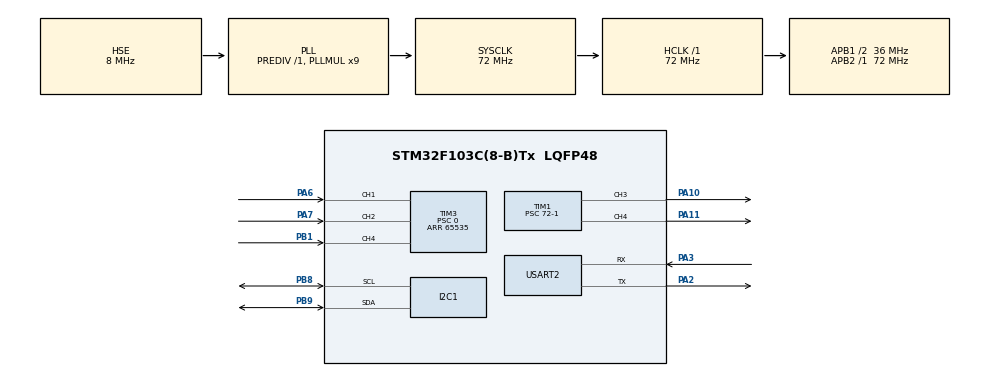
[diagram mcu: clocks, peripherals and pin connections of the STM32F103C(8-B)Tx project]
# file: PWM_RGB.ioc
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I2C1.I2C_Mode=I2C_Fast
Mcu.Family=STM32F1
Mcu.Name=STM32F103C(8-B)Tx
Mcu.Package=LQFP48
NVIC.PriorityGroup=NVIC_PRIORITYGROUP_4
NVIC.TIM2_IRQn=true\:0\:0\:false\:false\:true\:true\:true\:true
NVIC.TIM3_IRQn=true\:0\:0\:false\:false\:true\:true\:true\:true
NVIC.TIM4_IRQn=true\:0\:0\:false\:false\:true\:true\:true\:true
NVIC.USART2_IRQn=true\:0\:0\:false\:false\:true\:true\:true\:true
PA0-WKUP.Signal=S_TIM2_CH1_ETR
PA1.Signal=S_TIM2_CH2
PA10.Signal=S_TIM1_CH3
PA11.Signal=S_TIM1_CH4
PA13.Mode=Serial_Wire
PA13.Signal=SYS_JTMS-SWDIO
PA14.Mode=Serial_Wire
PA14.Signal=SYS_JTCK-SWCLK
PA2.Mode=Asynchronous
PA2.Signal=USART2_TX
PA3.Mode=Asynchronous
PA3.Signal=USART2_RX
PA6.Signal=S_TIM3_CH1
PA7.Signal=S_TIM3_CH2
PB1.Signal=S_TIM3_CH4
PB8.Mode=I2C
PB8.Signal=I2C1_SCL
PB9.Mode=I2C
PB9.Signal=I2C1_SDA
PD0-OSC_IN.Mode=HSE-External-Oscillator
PD0-OSC_IN.Signal=RCC_OSC_IN
PD1-OSC_OUT.Mode=HSE-External-Oscillator
PD1-OSC_OUT.Signal=RCC_OSC_OUT
ProjectManager.HeapSize=0x200
ProjectManager.StackSize=0x400
ProjectManager.TargetToolchain=STM32CubeIDE
RCC.AHBFreq_Value=72000000
RCC.APB1CLKDivider=RCC_HCLK_DIV2
RCC.APB1Freq_Value=36000000
RCC.APB1TimFreq_Value=72000000
RCC.APB2Freq_Value=72000000
RCC.APB2TimFreq_Value=72000000
RCC.HCLKFreq_Value=72000000
RCC.PLLMUL=RCC_PLL_MUL9
RCC.PLLSourceVirtual=RCC_PLLSOURCE_HSE
RCC.SYSCLKFreq_VALUE=72000000
RCC.SYSCLKSource=RCC_SYSCLKSOURCE_PLLCLK
RCC.USBFreq_Value=72000000
SH.S_TIM1_CH3.0=TIM1_CH3,PWM Generation3 CH3
SH.S_TIM1_CH4.0=TIM1_CH4,PWM Generation4 CH4
SH.S_TIM2_CH1_ETR.0=TIM2_CH1
SH.S_TIM2_CH2.0=TIM2_CH2
SH.S_TIM3_CH1.0=TIM3_CH1,Encoder_Interface
SH.S_TIM3_CH2.0=TIM3_CH2,Encoder_Interface
SH.S_TIM3_CH4.0=TIM3_CH4,Input_Capture4_from_TI4
TIM1.Channel-PWM\ Generation3\ CH3=TIM_CHANNEL_3
TIM1.Channel-PWM\ Generation4\ CH4=TIM_CHANNEL_4
TIM1.Period=100-1
TIM1.Prescaler=72-1
TIM2.Period=999
TIM2.Prescaler=7199
TIM3.Channel-Input_Capture4_from_TI4=TIM_CHANNEL_4
TIM3.Period=65535
TIM3.Prescaler=0
TIM4.Period=9999
TIM4.Prescaler=39
USART2.VirtualMode=VM_ASYNC
VP_TIM1_VS_ClockSourceINT.Mode=Internal
VP_TIM2_VS_ClockSourceINT.Mode=Internal
VP_TIM4_VS_ClockSourceINT.Mode=Internal
board=custom

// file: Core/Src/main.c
/* USER CODE BEGIN Header */
/**
 ******************************************************************************
 * @file           : main.c
 * @brief          : Main program body
 ******************************************************************************
 * @attention
 *
 * Copyright (c) 2022 STMicroelectronics.
 * All rights reserved.
 *
 * This software is licensed under terms that can be found in the LICENSE file
 * in the root directory of this software component.
 * If no LICENSE file comes with this software, it is provided AS-IS.
 *
 ******************************************************************************
 */
/* USER CODE END Header */
#include "main.h"
#include "i2c.h"
#include "tim.h"
#include "usart.h"
#include "gpio.h"

/* USER CODE BEGIN Includes */
#include "string.h"
#include "oled.h"
#include "stdio.h"
/* USER CODE END Includes */

/* USER CODE BEGIN PTD */
static uint8_t prev_mapped_value = 0;
/* USER CODE END PTD */

/* USER CODE BEGIN PM */
#define ENCODER_MAX_COUNT 65535  // 假设使用16位定时器

#define GRATING_RESOLUTION 0.001  // 光栅尺分辨率，单位：mm/脉冲，根据实际光栅尺规格调整
#define TIMER_OVERFLOW 65536      // 16位定时器溢出值
#define RX_BUFFER_SIZE 3  // 增加缓冲区大小以容纳更长的数字字符串
/* USER CODE END PM */

/* USER CODE BEGIN PV */
// 串口接收缓冲区
uint8_t rx_data[RX_BUFFER_SIZE];
volatile uint8_t rx_index = 0;
float test_pos = 0, amplitude = 200, time = 0;
volatile uint32_t g_sys_time = 0; // 系统时间
uint8_t controlPeriodFlag = 0;	  // 控制周期标志
volatile float goal_pos_loop = 0;
volatile float goal_vel_loop = 0;
volatile float goal_cur_loop; // 目标值
volatile uint32_t raw_count; //编码器计数值
volatile float motor_pos = 0.0f; // 光栅尺位置，单位：mm
volatile float motor_vel = 0.0f; // 光栅尺速度，单位：mm/s

int32_t last_count = 0;
int32_t total_count = 0;
uint8_t reference_detected = 0;
float reference_position = 0.0f;  // S相参考点位置
/* USER CODE END PV */

void SystemClock_Config(void);

int main(void) {

	/* MCU Configuration--------------------------------------------------------*/

	/* Reset of all peripherals, Initializes the Flash interface and the Systick. */
	HAL_Init();

	/* Configure the system clock */
	SystemClock_Config();

	/* Initialize all configured peripherals */
	MX_GPIO_Init();
	MX_TIM2_Init();
	MX_TIM1_Init();
	MX_USART2_UART_Init();
	MX_I2C1_Init();
	MX_TIM3_Init();
	MX_TIM4_Init();
	/* USER CODE BEGIN 2 */
	__HAL_TIM_SET_COUNTER(&htim3, 65536);
	HAL_TIM_Encoder_Start(&htim3, TIM_CHANNEL_ALL);
	HAL_TIM_Base_Start_IT(&htim2);
	HAL_TIM_Base_Start_IT(&htim4);

	HAL_Delay(20); // 单片机启动比OLED上电快,需要延迟等待一下
	OLED_Init();   // 初始化OLED
	// 开启串口中断接收
	HAL_UART_Receive_IT(&huart2, rx_data, 2);
	servoCtrlInit();
	HAL_Delay(100);
	/* USER CODE END 2 */

	/* Infinite loop */
	/* USER CODE BEGIN WHILE */
	HAL_TIM_PWM_Start(&htim1, TIM_CHANNEL_4);
	__HAL_TIM_SET_COMPARE(&htim1, TIM_CHANNEL_4, 10);
	HAL_Delay(500);
	htim2.Instance->CNT = 0;
	motor_pos = 0.0;
	while (1) {
		if (getControlPeriodFlag()) // 位置更新1000HZ
		{
			time += 0.00785;
//			test_pos = amplitude * sin(time); //正弦位置测试
//			servoSetGoalPos(test_pos);
			goal_pos_loop = fabs(amplitude * sin(time)) + 15;
			setControlPeriodFlag(0);
		}

		servoCtrlLoop(); // 伺服控制
		/* USER CODE END WHILE */

	}
}

void SystemClock_Config(void) {
	RCC_OscInitTypeDef RCC_OscInitStruct = { 0 };
	RCC_ClkInitTypeDef RCC_ClkInitStruct = { 0 };

	/** Initializes the RCC Oscillators according to the specified parameters
	 * in the RCC_OscInitTypeDef structure.
	 */
	RCC_OscInitStruct.OscillatorType = RCC_OSCILLATORTYPE_HSE;
	RCC_OscInitStruct.HSEState = RCC_HSE_ON;
	RCC_OscInitStruct.HSEPredivValue = RCC_HSE_PREDIV_DIV1;
	RCC_OscInitStruct.HSIState = RCC_HSI_ON;
	RCC_OscInitStruct.PLL.PLLState = RCC_PLL_ON;
	RCC_OscInitStruct.PLL.PLLSource = RCC_PLLSOURCE_HSE;
	RCC_OscInitStruct.PLL.PLLMUL = RCC_PLL_MUL9;
	if (HAL_RCC_OscConfig(&RCC_OscInitStruct) != HAL_OK) {
		Error_Handler();
	}

	/** Initializes the CPU, AHB and APB buses clocks
	 */
	RCC_ClkInitStruct.ClockType = RCC_CLOCKTYPE_HCLK | RCC_CLOCKTYPE_SYSCLK
			| RCC_CLOCKTYPE_PCLK1 | RCC_CLOCKTYPE_PCLK2;
	RCC_ClkInitStruct.SYSCLKSource = RCC_SYSCLKSOURCE_PLLCLK;
	RCC_ClkInitStruct.AHBCLKDivider = RCC_SYSCLK_DIV1;
	RCC_ClkInitStruct.APB1CLKDivider = RCC_HCLK_DIV2;
	RCC_ClkInitStruct.APB2CLKDivider = RCC_HCLK_DIV1;

	if (HAL_RCC_ClockConfig(&RCC_ClkInitStruct, FLASH_LATENCY_2) != HAL_OK) {
		Error_Handler();
	}
}

/* USER CODE BEGIN 4 */
// 串口接收完成（收到2个字节）中断回调函数
void HAL_UART_RxCpltCallback(UART_HandleTypeDef *huart) {
	if (huart->Instance == USART2) {
		// 直接使用接收到的1字节数据
		uint8_t received_value = rx_data[0];

		// 设置goal_pos_loop
		goal_pos_loop = (float) received_value;

		// 发送确认信息
//        char send_buf[50];
//        sprintf(send_buf, "Goal set to: %.1f (0x%02X)\r\n", goal_pos_loop, received_value);
//        HAL_UART_Transmit(&huart2, (uint8_t*)send_buf, strlen(send_buf), 100);

		// 重新启动接收中断
		HAL_UART_Receive_IT(&huart2, rx_data, 1);
	}
}

uint8_t getControlPeriodFlag(void) {
	return controlPeriodFlag;
}

void setControlPeriodFlag(uint8_t val) {
	controlPeriodFlag = val;
}

static double KalmanFilterSpeed(const double ResrcData, double ProcessNiose_Q,
		double MeasureNoise_R) {
	double R = MeasureNoise_R;
	double Q = ProcessNiose_Q;

	static double x_last;
	double x_mid = x_last;
	double x_now;

	static double p_last;
	double p_mid;
	double p_now;

	double kg;

	x_mid = x_last;
	p_mid = p_last + Q;

	kg = p_mid / (p_mid + R);
	x_now = x_mid + kg * (ResrcData - x_mid);
	p_now = (1 - kg) * p_mid;
	p_last = p_now;
	x_last = x_now;

	return x_now;
}

float calculatePosition(uint32_t current_count) {
	int32_t diff = (int32_t) current_count - last_count;

	// 检测方向和计算增量
	if (diff > TIMER_OVERFLOW / 2) {
		diff -= TIMER_OVERFLOW;
	} else if (diff < -TIMER_OVERFLOW / 2) {
		diff += TIMER_OVERFLOW;
	}

	total_count += diff;
	last_count = current_count;

	// 转换为实际位置（mm）
	float position = (float) total_count * GRATING_RESOLUTION;

	return position;
}

void HAL_TIM_IC_CaptureCallback(TIM_HandleTypeDef *htim) {
	if (htim->Instance == TIM3 && htim->Channel == HAL_TIM_ACTIVE_CHANNEL_4) // 假设S相信号连接到TIM2的通道3
			{
		// S相信号检测到
		reference_detected = 1;
		reference_position = calculatePosition(__HAL_TIM_GET_COUNTER(&htim2));
		// 可以选择在这里重置计数或者记录参考点位置
		total_count = 0;
		__HAL_TIM_SET_COUNTER(&htim2, 0);
	}
}

void HAL_TIM_PeriodElapsedCallback(TIM_HandleTypeDef *htim) {
	if (htim->Instance == TIM2) // Assuming you're using TIM3 for the interrupt
	{
		if (__HAL_UART_GET_FLAG(&huart2, UART_FLAG_TC) == SET) {
			int16_t pos = (int16_t) motor_pos;  // 将浮点数转换为16位整数
			uint8_t send_buf[2];  // 用于存储16位整数的两个字节

			// 将16位整数拆分为两个字节
			send_buf[0] = (pos >> 8) & 0xFF;  // 高字节
			send_buf[1] = pos & 0xFF;         // 低字节

			// 直接发送两个字节
			HAL_UART_Transmit_IT(&huart2, send_buf, 2);
		}
	} else if (htim->Instance == TIM4) {
		static float last_pos = 0;
		raw_count = __HAL_TIM_GET_COUNTER(&htim3);

		// 计算位置（mm）
		motor_pos = calculatePosition(raw_count);
		// 计算速度（mm/s）并应用卡尔曼滤波
		float delta_pos = motor_pos - last_pos;
		motor_vel = KalmanFilterSpeed(delta_pos / 0.001f, 0.001f, 1.0f);
		last_pos = motor_pos;
		g_sys_time++;
		if (g_sys_time % 10 == 0) // 1ms
			setControlPeriodFlag(1);
	}
}
/* USER CODE END 4 */

void Error_Handler(void) {
	__disable_irq();
	while (1) {
	}
}
